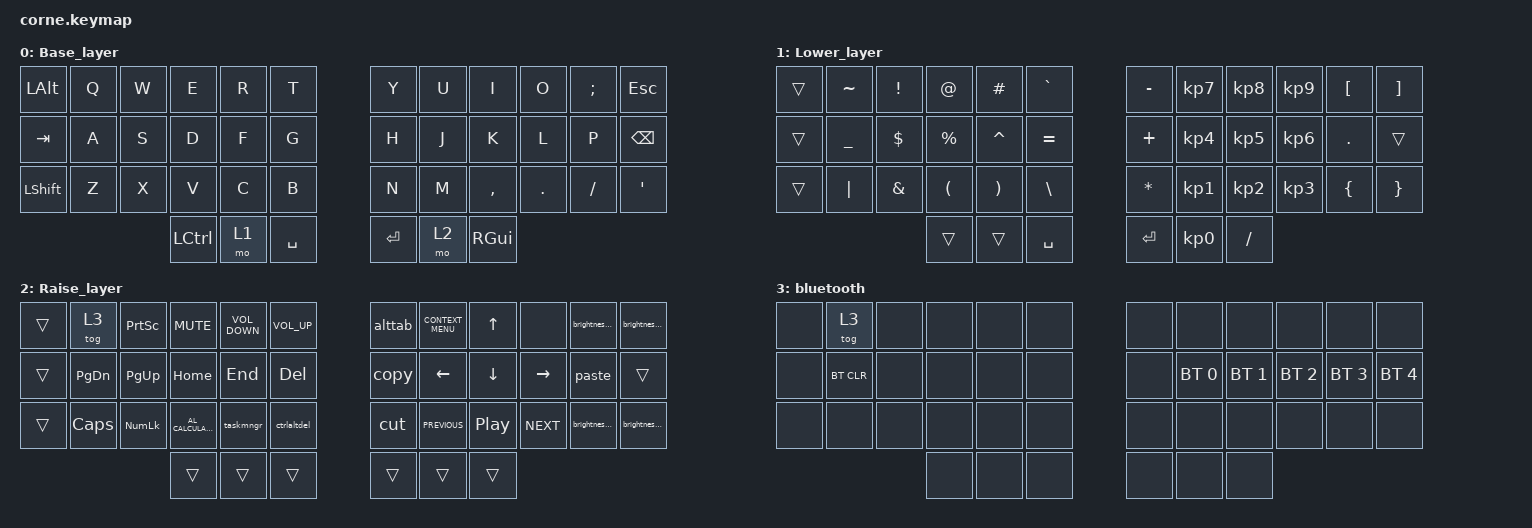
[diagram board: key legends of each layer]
#include <behaviors.dtsi>
#include <dt-bindings/zmk/bt.h>
#include <dt-bindings/zmk/keys.h>

#define BASE 0
#define LOWER 1
#define RAISE 2
#define BOTH 3

&sk { quick-release; };

/ {
    combos { compatible = "zmk,combos"; };

    macros {
        brightnessinc: brightnessinc {
            compatible = "zmk,behavior-macro";
            label = "BRIGHTNESSINC";
            #binding-cells = <0>;
            bindings =
                <&macro_wait_time 40>,
                <&macro_press>,
                <&kp LCTRL &kp LSHFT>,
                <&macro_tap>,
                <&kp PG_UP>,
                <&macro_release>,
                <&kp LCTRL &kp LEFT_SHIFT>;
        };

        brightnessdec: brightnessdec {
            compatible = "zmk,behavior-macro";
            label = "BRIGHTNESSDEC";
            #binding-cells = <0>;
            bindings =
                <&macro_wait_time 40>,
                <&macro_press>,
                <&kp LCTRL &kp LEFT_SHIFT>,
                <&macro_tap>,
                <&kp PAGE_DOWN>,
                <&macro_release>,
                <&kp LCTRL &kp LEFT_SHIFT>;
        };

        brightness100: brightness100 {
            compatible = "zmk,behavior-macro";
            label = "BRIGHTNESS100";
            #binding-cells = <0>;
            bindings =
                <&macro_wait_time 40>,
                <&macro_press>,
                <&kp LCTRL &kp LEFT_SHIFT &kp LEFT_ALT>,
                <&macro_tap>,
                <&kp PAGE_UP>,
                <&macro_release>,
                <&kp LCTRL &kp LEFT_SHIFT &kp LEFT_ALT>;
        };

        brightness20: brightness20 {
            compatible = "zmk,behavior-macro";
            label = "BRIGHTNESS20";
            #binding-cells = <0>;
            bindings =
                <&macro_wait_time 40>,
                <&macro_press>,
                <&kp LCTRL &kp LEFT_SHIFT &kp LEFT_ALT>,
                <&macro_tap>,
                <&kp PAGE_DOWN>,
                <&macro_release>,
                <&kp LCTRL &kp LEFT_SHIFT &kp LEFT_ALT>;
        };

        cut: cut {
            compatible = "zmk,behavior-macro";
            label = "CUT";
            #binding-cells = <0>;
            bindings =
                <&macro_press>,
                <&kp LCTRL>,
                <&macro_tap>,
                <&kp X>,
                <&macro_release>,
                <&kp LCTRL>;
        };

        copy: copy {
            compatible = "zmk,behavior-macro";
            label = "COPY";
            #binding-cells = <0>;
            bindings =
                <&macro_press>,
                <&kp LCTRL>,
                <&macro_tap>,
                <&kp C>,
                <&macro_release>,
                <&kp LCTRL>;
        };

        paste: paste {
            compatible = "zmk,behavior-macro";
            label = "PASTE";
            #binding-cells = <0>;
            bindings =
                <&macro_press>,
                <&kp LCTRL>,
                <&macro_tap>,
                <&kp V>,
                <&macro_release>,
                <&kp LCTRL>;
        };

        alttab: alttab {
            compatible = "zmk,behavior-macro";
            label = "ALTTAB";
            #binding-cells = <0>;
            bindings =
                <&macro_press>,
                <&kp LEFT_ALT>,
                <&macro_tap>,
                <&kp TAB>,
                <&macro_release>,
                <&kp LEFT_ALT>;
        };

        return: return {
            compatible = "zmk,behavior-macro";
            label = "RETURN";
            #binding-cells = <0>;
            bindings = <&macro_tap>, <&tog 0>, <&macro_release>, <&kp LEFT_ALT>;
        };

        ctrlaltdel: ctrlaltdel {
            compatible = "zmk,behavior-macro";
            label = "CTRLALTDEL";
            #binding-cells = <0>;
            bindings =
                <&macro_wait_time 40>,
                <&macro_press>,
                <&kp LCTRL &kp LEFT_ALT>,
                <&macro_tap>,
                <&kp DELETE>,
                <&macro_release>,
                <&kp LCTRL &kp LEFT_ALT>;
        };

        taskmngr: taskmngr {
            compatible = "zmk,behavior-macro";
            label = "TASKMNGR";
            #binding-cells = <0>;
            bindings =
                <&macro_wait_time 40>,
                <&macro_press>,
                <&kp LCTRL &kp LEFT_SHIFT>,
                <&macro_tap>,
                <&kp ESCAPE>,
                <&macro_release>,
                <&kp LCTRL &kp LEFT_SHIFT>;
        };
    };

    keymap {
        compatible = "zmk,keymap";

        Base_layer {
            bindings = <
&kp LEFT_ALT    &kp Q  &kp W  &kp E      &kp R  &kp T        &kp Y      &kp U  &kp I      &kp O       &kp SEMICOLON  &kp ESC
&kp TAB         &kp A  &kp S  &kp D      &kp F  &kp G        &kp H      &kp J  &kp K      &kp L       &kp P          &kp BACKSPACE
&kp LEFT_SHIFT  &kp Z  &kp X  &kp V      &kp C  &kp B        &kp N      &kp M  &kp COMMA  &kp PERIOD  &kp SLASH      &kp SINGLE_QUOTE
                              &kp LCTRL  &mo 1  &kp SPACE    &kp ENTER  &mo 2  &kp RGUI
            >;
        };

        Lower_layer {
            bindings = <
&trans  &kp TILDE       &kp EXCLAMATION  &kp AT_SIGN           &kp HASH               &kp GRAVE        &kp MINUS     &kp KP_NUMBER_7  &kp KP_NUMBER_8  &kp KP_NUMBER_9  &kp LEFT_BRACKET  &kp RIGHT_BRACKET
&trans  &kp UNDERSCORE  &kp DOLLAR       &kp PERCENT           &kp CARET              &kp EQUAL        &kp PLUS      &kp KP_NUMBER_4  &kp KP_NUMBER_5  &kp KP_NUMBER_6  &kp PERIOD        &trans
&trans  &kp PIPE        &kp AMPERSAND    &kp LEFT_PARENTHESIS  &kp RIGHT_PARENTHESIS  &kp BACKSLASH    &kp ASTERISK  &kp KP_NUMBER_1  &kp KP_NUMBER_2  &kp KP_NUMBER_3  &kp LEFT_BRACE    &kp RIGHT_BRACE
                                         &trans                &trans                 &kp SPACE        &kp ENTER     &kp KP_NUMBER_0  &kp SLASH
            >;
        };

        Raise_layer {
            bindings = <
&trans  &tog 3         &kp PRINTSCREEN  &kp C_MUTE           &kp C_VOLUME_DOWN  &kp C_VOLUME_UP    &alttab  &kp K_CONTEXT_MENU  &kp UP            &none       &brightnessdec  &brightnessinc
&trans  &kp PAGE_DOWN  &kp PAGE_UP      &kp HOME             &kp END            &kp DELETE         &copy    &kp LEFT            &kp DOWN          &kp RIGHT   &paste          &trans
&trans  &kp CAPSLOCK   &kp KP_NUMLOCK   &kp C_AL_CALCULATOR  &taskmngr          &ctrlaltdel        &cut     &kp C_PREVIOUS      &kp C_PLAY_PAUSE  &kp C_NEXT  &brightness20   &brightness100
                                        &trans               &trans             &trans             &trans   &trans              &trans
            >;
        };

        bluetooth {
            bindings = <
&none  &tog 3      &none  &none  &none  &none    &none  &none         &none         &none         &none         &none
&none  &bt BT_CLR  &none  &none  &none  &none    &none  &bt BT_SEL 0  &bt BT_SEL 1  &bt BT_SEL 2  &bt BT_SEL 3  &bt BT_SEL 4
&none  &none       &none  &none  &none  &none    &none  &none         &none         &none         &none         &none
                          &none  &none  &none    &none  &none         &none
            >;
        };
    };
};
